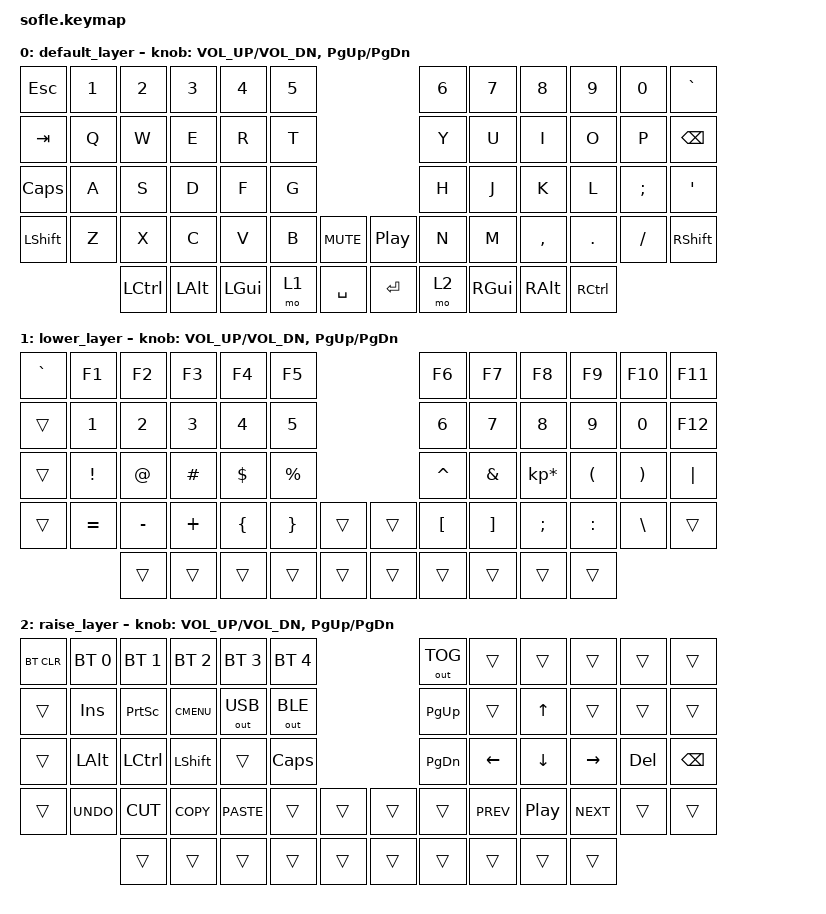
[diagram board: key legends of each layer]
/*
 * Copyright (c) 2020 The ZMK Contributors
 *
 * SPDX-License-Identifier: MIT
 */

#include <behaviors.dtsi>
#include <dt-bindings/zmk/bt.h>
#include <dt-bindings/zmk/keys.h>
#include <dt-bindings/zmk/outputs.h>

/ {
    keymap {
        compatible = "zmk,keymap";

        default_layer {
            // ------------------------------------------------------------------------------------------------------------
            // |  `    |  1  |  2  |  3   |  4   |  5   |                   |  6   |  7    |  8    |  9   |   0   |       |
            // |  ESC  |  Q  |  W  |  E   |  R   |  T   |                   |  Y   |  U    |  I    |  O   |   P   | BKSPC |
            // |  TAB  |  A  |  S  |  D   |  F   |  G   |                   |  H   |  J    |  K    |  L   |   ;   |   '   |
            // | SHIFT |  Z  |  X  |  C   |  V   |  B   |  MUTE  |  |       |  N   |  M    |  ,    |  .   |   /   | SHIFT |
            //               | GUI | ALT  | CTRL | LOWER|  ENTER |  | SPACE | RAISE| CTRL  | ALT   | GUI  |

            bindings = <
&kp ESC    &kp N1  &kp N2     &kp N3    &kp N4        &kp N5                                  &kp N6  &kp N7         &kp N8     &kp N9             &kp N0    &kp GRAVE
&kp TAB    &kp Q   &kp W      &kp E     &kp R         &kp T                                   &kp Y   &kp U          &kp I      &kp O              &kp P     &kp BSPC
&kp CAPS   &kp A   &kp S      &kp D     &kp F         &kp G                                   &kp H   &kp J          &kp K      &kp L              &kp SEMI  &kp SQT
&kp LSHFT  &kp Z   &kp X      &kp C     &kp V         &kp B   &kp C_MUTE    &kp C_PLAY_PAUSE  &kp N   &kp M          &kp COMMA  &kp DOT            &kp FSLH  &kp RSHFT
                   &kp LCTRL  &kp LALT  &kp LEFT_GUI  &mo 1   &kp SPACE     &kp ENTER         &mo 2   &kp RIGHT_GUI  &kp RALT   &kp RIGHT_CONTROL
            >;

            sensor-bindings = <&inc_dec_kp C_VOL_UP C_VOL_DN &inc_dec_kp PG_UP PG_DN>;
        };

        lower_layer {
            // TODO: Some binds are waiting for shifted keycode support.
            // ------------------------------------------------------------------------------------------------------------
            // |       |  F1 |  F2 |  F3  |  F4  |  F5  |                   |  F6  |  F7   |  F8   |  F9  |  F10  |  F11  |
            // | `     |   1 |   2 |   3  |   4  |   5  |                   |   6  |   7   |   8   |   9  |    0  |  F12  |
            // |       |  !  |  @  |  #   |  $   |  %   |                   |  ^   |  &    |  *    |  (   |   )   |   |   |
            // |       |  =  |  -  |  +   |  {   |  }   |        |  |       |  [   |  ]    |  ;    |  :   |   \   |       |
            //               |     |      |      |      |        |  |       |      |       |       |      |

            bindings = <
&kp GRAVE  &kp F1     &kp F2     &kp F3    &kp F4    &kp F5                       &kp F6     &kp F7    &kp F8           &kp F9     &kp F10   &kp F11
&trans     &kp N1     &kp N2     &kp N3    &kp N4    &kp N5                       &kp N6     &kp N7    &kp N8           &kp N9     &kp N0    &kp F12
&trans     &kp EXCL   &kp AT     &kp HASH  &kp DLLR  &kp PRCNT                    &kp CARET  &kp AMPS  &kp KP_MULTIPLY  &kp LPAR   &kp RPAR  &kp PIPE
&trans     &kp EQUAL  &kp MINUS  &kp PLUS  &kp LBRC  &kp RBRC   &trans    &trans  &kp LBKT   &kp RBKT  &kp SEMI         &kp COLON  &kp BSLH  &trans
                      &trans     &trans    &trans    &trans     &trans    &trans  &trans     &trans    &trans           &trans
            >;

            sensor-bindings = <&inc_dec_kp C_VOL_UP C_VOL_DN &inc_dec_kp PG_UP PG_DN>;
        };

        raise_layer {
            // ------------------------------------------------------------------------------------------------------------
            // |BTCLR| BT1  | BT2  |  BT3  |  BT4  |  BT5 |                |      |      |       |      |       |       |
            // |     | INS  | PSCR | GUI   |       |      |                | PGUP |      |       |      |       |       |
            // |     | ALT  | CTRL | SHIFT |       | CAPS |                |  <-  |   v  |   ^   |  ->  |  DEL  | BKSPC |
            // |     | UNDO | CUT  | COPY  | PASTE |      |      |  |      |      |      |       |      |       |       |
            //              |      |       |       |      |      |  |      |      |      |       |      |

            bindings = <
&bt BT_CLR  &bt BT_SEL 0  &bt BT_SEL 1  &bt BT_SEL 2  &bt BT_SEL 3  &bt BT_SEL 4                    &out OUT_TOG   &trans          &trans            &trans      &trans   &trans
&trans      &kp INS       &kp PSCRN     &kp K_CMENU   &out OUT_USB  &out OUT_BLE                    &kp PG_UP      &trans          &kp UP_ARROW      &trans      &trans   &trans
&trans      &kp LALT      &kp LCTRL     &kp LSHFT     &trans        &kp CLCK                        &kp PAGE_DOWN  &kp LEFT_ARROW  &kp DOWN_ARROW    &kp RIGHT   &kp DEL  &kp BSPC
&trans      &kp K_UNDO    &kp K_CUT     &kp K_COPY    &kp K_PASTE   &trans        &trans    &trans  &trans         &kp C_PREV      &kp C_PLAY_PAUSE  &kp C_NEXT  &trans   &trans
                          &trans        &trans        &trans        &trans        &trans    &trans  &trans         &trans          &trans            &trans
            >;

            sensor-bindings = <&inc_dec_kp C_VOL_UP C_VOL_DN &inc_dec_kp PG_UP PG_DN>;
        };
    };

    conditional_layers { compatible = "zmk,conditional-layers"; };
};
